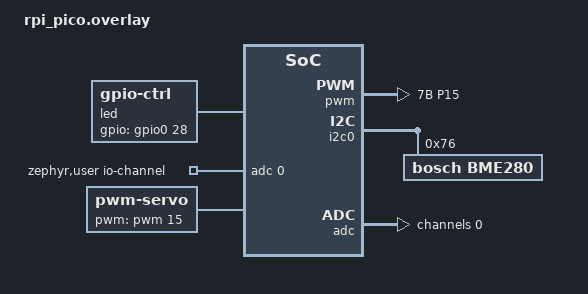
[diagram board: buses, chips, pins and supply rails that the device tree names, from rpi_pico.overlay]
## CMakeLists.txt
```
cmake_minimum_required(VERSION 3.20.0)

set(BOARD rpi_pico)
#set(DTC_OVERLAY_FILE ${CMAKE_CURRENT_SOURCE_DIR}/rpi_pico.overlay)

find_package(Zephyr REQUIRED HINTS $ENV{ZEPHYR_BASE})
project(prova_led)

target_sources(app PRIVATE src/main.c)
```

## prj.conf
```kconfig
CONFIG_GPIO=y
CONFIG_SENSOR=y
CONFIG_I2C=y
CONFIG_BME280=y
CONFIG_ADC=y
CONFIG_STDOUT_CONSOLE=y
CONFIG_PRINTK=y
CONFIG_PWM=y
CONFIG_LOG=y
CONFIG_LOG_PRINTK=y
CONFIG_LOG_MODE_IMMEDIATE=y
CONFIG_PWM_LOG_LEVEL_DBG=y
```

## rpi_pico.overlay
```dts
/ {
	led: led {
		compatible = "gpio-ctrl";
        gpios = <&gpio0 28 0x0>;
    };
	
	zephyr,user {
		io-channels = <&adc 0>;
	};

	servo: servo {
		compatible = "pwm-servo";
		status = "okay";
		pwms = <&pwm 15 PWM_MSEC(20) PWM_POLARITY_NORMAL>;
		min-pulse = <PWM_USEC(500)>;
		max-pulse = <PWM_USEC(2500)>;
	};
};

&pinctrl{
	myi2c: myi2c {
		group1 {
			pinmux = <I2C0_SDA_P8>, <I2C0_SCL_P9>;
			input-enable;
			input-schmitt-enable;
		};
	};
	mypwm: mypwm {
		group1 {
			pinmux = <PWM_7B_P15>;
		};
	};
};

&pwm {
	pinctrl-0 = <&mypwm>;
	status = "okay";
	divider-int-4 = <255>;
};

&i2c0 {
	pinctrl-0 = <&myi2c>;
	status = "okay";
	bme280: bme280@76 {
		compatible = "bosch,bme280";
		reg = <0x76>;
		status = "okay";
	};
};

&adc {
	#address-cells = <1>;
	#size-cells = <0>;

	channel@0 {
		reg = <0>;
		zephyr,gain = "ADC_GAIN_1";
		zephyr,reference = "ADC_REF_INTERNAL";
		zephyr,acquisition-time = <ADC_ACQ_TIME_DEFAULT>;
		zephyr,resolution = <12>;
	};
};
```

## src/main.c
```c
/*
 * Copyright (c) 2023 Libre Solar Technologies GmbH
 *
 * SPDX-License-Identifier: Apache-2.0
 */

#include <stdio.h>
#include <inttypes.h>
#include <stddef.h>
#include <stdint.h>

#include <zephyr/devicetree.h>
#include <zephyr/device.h>
#include <zephyr/drivers/gpio.h>
#include <zephyr/drivers/adc.h>
#include <zephyr/drivers/sensor.h>
#include <zephyr/drivers/pwm.h>
#include <zephyr/kernel.h>
#include <zephyr/sys/printk.h>
#include <zephyr/sys/util.h>

int map(int x, int in_min, int in_max, int out_min, int out_max) {
    return (x - in_min) * (out_max - out_min) / (in_max - in_min) + out_min;
}


//BME------------------------------------------------------------------------
static const struct device *get_bme280_device(void)
{
	const struct device* dev = DEVICE_DT_GET_ANY(bosch_bme280);

	if (dev == NULL) {
		/* No such node, or the node does not have status "okay". */
		printk("\nError: no device found.\n");
		return NULL;
	}

	if (!device_is_ready(dev)) {
		printk("\nError: Device \"%s\" is not ready; "
		       "check the driver initialization logs for errors.\n",
		       dev->name);
		return NULL;
	}

	printk("Found device \"%s\", getting sensor data\n", dev->name);
	return dev;
}

//ADC----------------------------------------------------------------------------
#if !DT_NODE_EXISTS(DT_PATH(zephyr_user)) || \
	!DT_NODE_HAS_PROP(DT_PATH(zephyr_user), io_channels)
#error "No suitable devicetree overlay specified"
#endif

#define DT_SPEC_AND_COMMA(node_id, prop, idx) \
	ADC_DT_SPEC_GET_BY_IDX(node_id, idx),

/* Data of ADC io-channels specified in devicetree. */
static const struct adc_dt_spec adc_channels[] = {
	DT_FOREACH_PROP_ELEM(DT_PATH(zephyr_user), io_channels,
			     DT_SPEC_AND_COMMA)
};

//PWM
static const struct pwm_dt_spec servo = PWM_DT_SPEC_GET(DT_NODELABEL(servo));
static const uint32_t min_pulse = DT_PROP(DT_NODELABEL(servo), min_pulse);
static const uint32_t max_pulse = DT_PROP(DT_NODELABEL(servo), max_pulse);
#define STEP PWM_USEC(100)

enum direction {
	DOWN,
	UP,
};

int main(void)
{
    //LED--------------------------------------------------------------------------------------
    static const struct gpio_dt_spec led_dev = GPIO_DT_SPEC_GET(DT_NODELABEL(led), gpios);
    gpio_pin_configure_dt(&led_dev, GPIO_OUTPUT_ACTIVE);

	//BME--------------------------------------------------------------------------------------
	const struct device *bme_dev = get_bme280_device();
	if (bme_dev == NULL) {
		return 0;
	}

	//ADC--------------------------------------------------------------------------------------
	int err;
	uint32_t count = 0;
	uint16_t buf;
	struct adc_sequence sequence = {
		.buffer = &buf,
		/* buffer size in bytes, not number of samples */
		.buffer_size = sizeof(buf),
	};

	/* Configure channels individually prior to sampling. */
	for (size_t i = 0U; i < ARRAY_SIZE(adc_channels); i++) {
		if (!adc_is_ready_dt(&adc_channels[i])) {
			printk("ADC controller device %s not ready\n", adc_channels[i].dev->name);
			return 0;
		}

		err = adc_channel_setup_dt(&adc_channels[i]);
		if (err < 0) {
			printk("Could not setup channel #%d (%d)\n", i, err);
			return 0;
		}
	}

	//PWM-----------------------------------------------------------------
	enum direction dir = UP;
	uint32_t pulse_width = min_pulse;
	int ret;
	if (!pwm_is_ready_dt(&servo)) {
		printk("Error out of while: PWM device %s is not ready\n", servo.dev->name);
		return 0;
	}

    while(1){
        //LED-------------------------------------------------------------
        printk("nel main\n");
        //k_msleep(500);
        gpio_pin_toggle_dt(&led_dev);
        
        //BME-------------------------------------------------------------
        struct sensor_value temp, press, humidity;

		sensor_sample_fetch(bme_dev);
		sensor_channel_get(bme_dev, SENSOR_CHAN_AMBIENT_TEMP, &temp);
		sensor_channel_get(bme_dev, SENSOR_CHAN_PRESS, &press);
		sensor_channel_get(bme_dev, SENSOR_CHAN_HUMIDITY, &humidity);

		printk("temp: %d.%06d; press: %d.%06d; humidity: %d.%06d\n",
		      temp.val1, temp.val2, press.val1, press.val2,
		      humidity.val1, humidity.val2); 

		//ADC--------------------------------------------------------------
		printk("ADC reading[%u]:\n", count++);
		int32_t val_mv;
		for (size_t i = 0U; i < ARRAY_SIZE(adc_channels); i++) {

			printk("- %s, channel %d: ",
			       adc_channels[i].dev->name,
			       adc_channels[i].channel_id);

			(void)adc_sequence_init_dt(&adc_channels[i], &sequence);

			err = adc_read_dt(&adc_channels[i], &sequence);
			if (err < 0) {
				printk("Could not read (%d)\n", err);
				continue;
			}

			/*
			 * If using differential mode, the 16 bit value
			 * in the ADC sample buffer should be a signed 2's
			 * complement value.
			 */
			if (adc_channels[i].channel_cfg.differential) {
				val_mv = (int32_t)((int16_t)buf);
			} else {
				val_mv = (int32_t)buf;
			}
			printk("%"PRId32, val_mv);
			err = adc_raw_to_millivolts_dt(&adc_channels[i],
						       &val_mv);
			/* conversion to mV may not be supported, skip if not */
			if (err < 0) {
				printk(" (value in mV not available)\n");
			} else {
				printk(" = %"PRId32" mV\n", val_mv);
			}
		}

		//PWM----------------------------------------------------------------
		//uint32_t pulse_width = map(val_mv, 0, 4095, 1, 2);
		printk("Pulse width: %d\n", pulse_width);

		ret = pwm_set_pulse_dt(&servo, pulse_width);
		if (ret < 0) {
			printk("Error %d: failed to set pulse width\n", ret);
			return 0;
		}

		if (dir == DOWN) {
			if (pulse_width <= min_pulse) {
				dir = UP;
				pulse_width = min_pulse;
			} else {
				pulse_width -= STEP;
			}
		} else {
			pulse_width += STEP;

			if (pulse_width >= max_pulse) {
				dir = DOWN;
				pulse_width = max_pulse;
			}
		}

		k_sleep(K_MSEC(100));
    }
	return 0;
}
```
